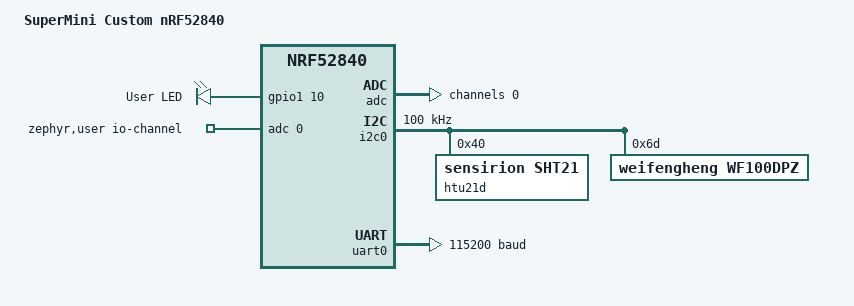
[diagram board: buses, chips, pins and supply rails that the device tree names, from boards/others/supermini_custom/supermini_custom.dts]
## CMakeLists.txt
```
cmake_minimum_required(VERSION 3.20.0)

# Allow normal (non-sysbuild) builds to discover the board stored in this
# application's boards/ directory.
list(APPEND BOARD_ROOT ${CMAKE_CURRENT_SOURCE_DIR})

find_package(Zephyr REQUIRED HINTS $ENV{ZEPHYR_BASE})

project(BioSense_BLE_code_nrf52840)

target_sources(app PRIVATE
    src/main.c
    app/biosense_ble.c
    app/htu21d_monitor.c
    app/supply_voltage.c
    app/wf100dpz.c
)

target_include_directories(app PRIVATE app)
```

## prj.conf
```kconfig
CONFIG_GPIO=y
CONFIG_ADC=y
CONFIG_I2C=y
CONFIG_SENSOR=y
CONFIG_SI7006=y

CONFIG_BT=y
CONFIG_BT_BROADCASTER=y
CONFIG_BT_DEVICE_NAME="BioSense"

# Radio de corto alcance y reloj de baja frecuencia para bajo consumo.
CONFIG_BT_CTLR_TX_PWR_MINUS_20=y
CONFIG_CLOCK_CONTROL_NRF_K32SRC_XTAL=y
CONFIG_CLOCK_CONTROL_NRF_K32SRC_50PPM=y

# Produccion con CR2032: sin consola, UART ni logs periodicos.
CONFIG_SERIAL=n
CONFIG_CONSOLE=n
CONFIG_UART_CONSOLE=n
CONFIG_LOG=n
CONFIG_BOOT_BANNER=n
```

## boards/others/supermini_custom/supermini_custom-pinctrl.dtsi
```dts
#include <zephyr/dt-bindings/pinctrl/nrf-pinctrl.h>

&pinctrl {
	uart0_default: uart0_default {
		group1 {
			psels = <NRF_PSEL(UART_TX, 0, 20)>;
		};
	};

	uart0_sleep: uart0_sleep {
		group1 {
			psels = <NRF_PSEL(UART_TX, 0, 20)>;
			low-power-enable;
		};
	};

	i2c0_default: i2c0_default {
		group1 {
			psels = <NRF_PSEL(TWIM_SCL, 0, 26)>,
				<NRF_PSEL(TWIM_SDA, 0, 6)>;
			bias-pull-up;
		};
	};

	i2c0_sleep: i2c0_sleep {
		group1 {
			psels = <NRF_PSEL(TWIM_SCL, 0, 26)>,
				<NRF_PSEL(TWIM_SDA, 0, 6)>;
			low-power-enable;
		};
	};
};
```

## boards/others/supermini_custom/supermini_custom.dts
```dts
/dts-v1/;

#include <nordic/nrf52840_qiaa.dtsi>
#include <zephyr/dt-bindings/gpio/gpio.h>
#include <zephyr/dt-bindings/i2c/i2c.h>
#include "supermini_custom-pinctrl.dtsi"

/ {
	model = "SuperMini Custom nRF52840";
	compatible = "others,supermini-custom";

	chosen {
		zephyr,sram = &sram0;
		zephyr,flash = &flash0;
		zephyr,console = &uart0;
	};

	leds {
		compatible = "gpio-leds";

		user_led: led_0 {
			gpios = <&gpio1 10 GPIO_ACTIVE_HIGH>;
			label = "User LED";
		};
	};

	aliases {
		led0 = &user_led;
	};

	zephyr,user {
		io-channels = <&adc 0>;
	};
};

&adc {
	#address-cells = <1>;
	#size-cells = <0>;
	status = "okay";

	channel@0 {
		reg = <0>;
		zephyr,gain = "ADC_GAIN_1_6";
		zephyr,reference = "ADC_REF_INTERNAL";
		zephyr,acquisition-time = <ADC_ACQ_TIME_DEFAULT>;
		zephyr,input-positive = <NRF_SAADC_VDD>;
		zephyr,resolution = <14>;
		zephyr,oversampling = <8>;
	};
};

&gpiote {
	status = "okay";
};

&gpio0 {
	status = "okay";
};

&gpio1 {
	status = "okay";
};

&i2c0 {
	compatible = "nordic,nrf-twim";
	clock-frequency = <I2C_BITRATE_STANDARD>;
	pinctrl-0 = <&i2c0_default>;
	pinctrl-1 = <&i2c0_sleep>;
	pinctrl-names = "default", "sleep";
	status = "okay";

	htu21d: htu21d@40 {
		compatible = "sensirion,sht21";
		reg = <0x40>;
	};

	wf100dpz: pressure-sensor@6d {
		compatible = "weifengheng,wf100dpz";
		reg = <0x6d>;
	};
};

&uart0 {
	compatible = "nordic,nrf-uarte";
	current-speed = <115200>;
	pinctrl-0 = <&uart0_default>;
	pinctrl-1 = <&uart0_sleep>;
	pinctrl-names = "default", "sleep";
	status = "okay";
};

&uicr {
	nfct-pins-as-gpios;
	gpio-as-nreset;
};
```

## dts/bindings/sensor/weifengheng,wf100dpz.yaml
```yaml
description: Weifengheng WF100DPZ digital pressure sensor

compatible: "weifengheng,wf100dpz"

include: [sensor-device.yaml, i2c-device.yaml]
```

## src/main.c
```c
#include <stdint.h>

#include <zephyr/drivers/gpio.h>
#include <zephyr/kernel.h>

#include "biosense_ble.h"
#include "htu21d_monitor.h"
#include "supply_voltage.h"
#include "wf100dpz.h"

#define MEASUREMENT_INTERVAL_MS 60000
#define PRESSURE_DISPLAY_THRESHOLD_CENTI_KPA 10
#define LED0_NODE DT_ALIAS(led0)

#if !DT_NODE_HAS_STATUS(LED0_NODE, okay)
#error "La board debe definir el alias led0"
#endif

static const struct gpio_dt_spec led = GPIO_DT_SPEC_GET(LED0_NODE, gpios);

static int sample_environment(struct biosense_measurement *measurement)
{
	struct htu21d_sample climate;
	int error;

	error = htu21d_monitor_sample(&climate);
	if (error < 0) {
		return error;
	}

	error = wf100dpz_sample_pressure(&measurement->pressure_centi_kpa);
	if (error < 0) {
		return error;
	}

	error = supply_voltage_sample(&measurement->supply_voltage_mv);
	if (error < 0) {
		return error;
	}

	measurement->temperature_centi_c = climate.temperature_centi_c;
	measurement->humidity_centi_percent = climate.humidity_centi_percent;

	/* Oculta pequenas variaciones de cero y todas las lecturas negativas. */
	if (measurement->pressure_centi_kpa <
	    PRESSURE_DISPLAY_THRESHOLD_CENTI_KPA) {
		measurement->pressure_centi_kpa = 0;
	}

	return 0;
}

int main(void)
{
	struct biosense_measurement measurement;
	int64_t next_measurement_ms;
	int64_t remaining_ms;
	int error;

	if (!gpio_is_ready_dt(&led)) {
		return 0;
	}

	error = gpio_pin_configure_dt(&led, GPIO_OUTPUT_INACTIVE);
	if (error < 0) {
		return 0;
	}

	/* Permite que los sensores terminen su encendido antes de la tara. */
	k_msleep(100);
	if (htu21d_monitor_init() < 0 || wf100dpz_init() < 0 ||
	    supply_voltage_init() < 0 || biosense_ble_init() < 0) {
		return 0;
	}

	next_measurement_ms = k_uptime_get();

	while (1) {
		if (sample_environment(&measurement) == 0) {
			(void)biosense_ble_publish(&measurement);
		}

		next_measurement_ms += MEASUREMENT_INTERVAL_MS;
		remaining_ms = next_measurement_ms - k_uptime_get();
		if (remaining_ms > 0) {
			k_msleep((int32_t)remaining_ms);
		} else {
			next_measurement_ms = k_uptime_get();
		}
	}

	return 0;
}
```
